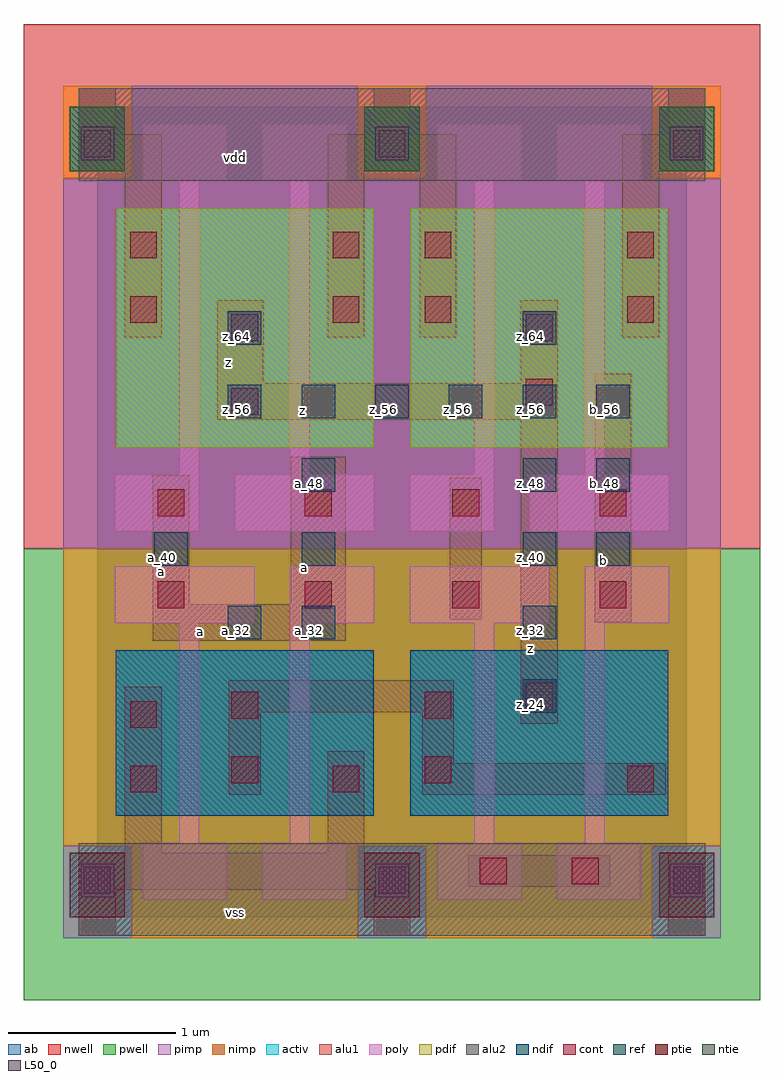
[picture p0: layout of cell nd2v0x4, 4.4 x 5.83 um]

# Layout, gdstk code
import gdstk
lib = gdstk.Library(unit=1e-6, precision=2.5e-09)
def R(c, l, rs):  # rectangles x0, y0, x1, y1
    for r in rs: c.add(gdstk.rectangle(r[:2], r[2:], *l))
def A(c, l, x, y, w, h, nx, ny, dx, dy):  # array of equal rectangles
    R(c, l, [(x+i*dx, y+j*dy, x+i*dx+w, y+j*dy+h) for i in range(nx) for j in range(ny)])
ndif = (3, 0)
pdif = (4, 0)
ntie = (5, 0)
ptie = (6, 0)
ref = (24, 0)
cont = (25, 0)
pwell = (41, 0)
nwell = (42, 0)
activ = (43, 0)
pimp = (44, 0)
nimp = (45, 0)
poly = (46, 0)
alu1 = (49, 0)
L50_0 = (50, 0)
alu2 = (51, 0)
ab = (63, 0)

nd2v0x4 = lib.new_cell('nd2v0x4')
R(nd2v0x4, ndif, [(0.11,0.605,1.65,1.595), (1.87,0.605,3.41,1.595)])
R(nd2v0x4, pdif, [(0.11,2.805,1.65,4.235), (1.87,2.805,3.41,4.235)])
A(nd2v0x4, ntie, -0.165, 4.455, 0.33, 0.385, 3, 1, 1.76, 0)
A(nd2v0x4, ptie, -0.165, 0, 0.33, 0.385, 3, 1, 1.76, 0)
A(nd2v0x4, ref, 2.54, 1.22, 0.2, 0.2, 1, 4, 0, 0.44)
A(nd2v0x4, ref, 1.22, 1.66, 0.2, 0.2, 1, 3, 0, 0.44)
A(nd2v0x4, ref, 0.78, 2.98, 0.2, 0.2, 6, 1, 0.44, 0)
R(nd2v0x4, ref, [(0.78,1.66,0.98,1.86), (0.34,2.1,0.54,2.3), (2.98,2.1,3.18,2.3), (2.98,2.54,3.18,2.74), (0.78,3.42,0.98,3.62), (2.54,3.42,2.74,3.62)])
A(nd2v0x4, cont, -0.08, 0.14, 0.16, 0.16, 3, 2, 1.76, 4.4)
A(nd2v0x4, cont, 0.36, 1.845, 0.16, 0.16, 4, 2, 0.88, 0.55)
R(nd2v0x4, cont, [(2.285,0.195,2.445,0.355), (2.835,0.195,2.995,0.355), (0.195,0.745,0.355,0.905), (1.405,0.745,1.565,0.905), (3.165,0.745,3.325,0.905), (0.8,0.8,0.96,0.96), (1.955,0.8,2.115,0.96), (0.195,1.13,0.355,1.29), (0.8,1.185,0.96,1.345), (1.955,1.185,2.115,1.345), (2.56,1.24,2.72,1.4), (0.8,3,0.96,3.16), (2.56,3.055,2.72,3.215), (0.8,3.44,0.96,3.6), (2.56,3.44,2.72,3.6), (0.195,3.55,0.355,3.71), (1.405,3.55,1.565,3.71), (1.955,3.55,2.115,3.71), (3.165,3.55,3.325,3.71), (0.195,3.935,0.355,4.095), (1.405,3.935,1.565,4.095), (1.955,3.935,2.115,4.095), (3.165,3.935,3.325,4.095)])
R(nd2v0x4, pwell, [(-0.44,-0.495,3.96,2.2)])
R(nd2v0x4, nwell, [(-0.44,2.2,3.96,5.335)])
A(nd2v0x4, activ, -0.165, 0, 0.33, 0.385, 3, 2, 1.76, 4.455)
R(nd2v0x4, activ, [(0.11,0.605,1.65,1.595), (1.87,0.605,3.41,1.595), (0.11,2.805,1.65,4.235), (1.87,2.805,3.41,4.235)])
A(nd2v0x4, pimp, -0.205, -0.125, 0.41, 0.55, 3, 1, 1.76, 0)
R(nd2v0x4, pimp, [(-0.205,2.2,3.725,4.415), (0.205,4.415,1.555,4.965), (1.965,4.415,3.315,4.965)])
A(nd2v0x4, nimp, -0.205, 4.415, 0.41, 0.55, 3, 1, 1.76, 0)
R(nd2v0x4, nimp, [(0.205,-0.125,1.555,0.425), (1.965,-0.125,3.315,0.425), (-0.205,0.425,3.725,2.2)])
R(nd2v0x4, poly, [(0.27,0.105,0.775,0.445), (0.985,0.105,1.49,0.445), (2.03,0.105,2.535,0.445), (2.745,0.105,3.25,0.445), (0.49,0.445,0.61,1.755), (1.15,0.445,1.27,1.755), (2.25,0.445,2.37,1.755), (2.91,0.445,3.03,1.755), (0.105,1.755,0.94,2.095), (1.15,1.755,1.655,2.095), (1.865,1.755,2.7,2.095), (2.91,1.755,3.415,2.095), (0.105,2.305,0.61,2.645), (0.82,2.305,1.655,2.645), (1.865,2.305,2.37,2.645), (2.58,2.305,3.415,2.645), (0.49,2.645,0.61,4.395), (1.15,2.645,1.27,4.395), (2.25,2.645,2.37,4.395), (2.91,2.645,3.03,4.395), (0.27,4.395,0.775,4.735), (0.985,4.395,1.49,4.735), (2.03,4.395,2.535,4.735), (2.745,4.395,3.25,4.735)])
A(nd2v0x4, alu1, -0.11, 4.675, 0.22, 0.275, 3, 1, 1.76, 0)
R(nd2v0x4, alu1, [(-0.11,-0.11,0.11,0.165), (1.65,-0.11,1.87,0.165), (3.41,-0.11,3.63,0.385), (-0.11,0.165,1.87,0.385), (2.215,0.18,3.065,0.37), (0.165,0.385,0.385,1.375), (1.375,0.385,1.595,0.99), (0.785,0.73,0.975,1.225), (1.94,0.73,3.395,0.92), (1.94,0.92,2.13,1.225), (2.53,1.155,2.75,2.97), (0.785,1.225,2.13,1.415), (0.33,1.65,1.485,1.87), (2.97,1.76,3.19,3.245), (2.105,1.775,2.295,2.625), (0.33,1.87,0.55,2.64), (1.155,1.87,1.485,2.75), (0.715,2.97,2.75,3.19), (0.715,3.19,0.99,3.685), (2.53,3.19,2.75,3.685), (0.165,3.465,0.385,4.455), (1.375,3.465,1.595,4.455), (1.925,3.465,2.145,4.455), (3.135,3.465,3.355,4.455), (-0.11,4.455,0.385,4.675), (1.375,4.455,2.145,4.675), (3.135,4.455,3.63,4.675)])
A(nd2v0x4, L50_0, -0.1, 0.12, 0.2, 0.2, 3, 2, 1.76, 4.4)
R(nd2v0x4, alu2, [(-0.11,-0.11,3.63,0.44), (-0.11,4.4,3.63,4.95)])
R(nd2v0x4, ab, [(0,0,3.52,4.84)])
nd2v0x4.add(gdstk.Label('b', (3.025,2.13), layer=49, texttype=0))
nd2v0x4.add(gdstk.Label('z', (2.585,1.6075), layer=49, texttype=0))
nd2v0x4.add(gdstk.Label('a', (0.6175,1.705), layer=49, texttype=0))
nd2v0x4.add(gdstk.Label('a', (1.2375,2.09), layer=49, texttype=0))
nd2v0x4.add(gdstk.Label('a', (0.385,2.0625), layer=49, texttype=0))
nd2v0x4.add(gdstk.Label('z', (1.2225,3.025), layer=49, texttype=0))
nd2v0x4.add(gdstk.Label('z', (0.7825,3.3125), layer=49, texttype=0))
nd2v0x4.add(gdstk.Label('vss', (0.825,0.0275), layer=51, texttype=0))
nd2v0x4.add(gdstk.Label('vdd', (0.825,4.5375), layer=51, texttype=0))
nd2v0x4.add(gdstk.Label('a_40', (0.39,2.15), layer=24, texttype=0))
nd2v0x4.add(gdstk.Label('z_64', (0.83,3.47), layer=24, texttype=0))
nd2v0x4.add(gdstk.Label('z_56', (1.71,3.03), layer=24, texttype=0))
nd2v0x4.add(gdstk.Label('b_40', (3.03,2.15), layer=24, texttype=0))
nd2v0x4.add(gdstk.Label('b_48', (3.03,2.59), layer=24, texttype=0))
nd2v0x4.add(gdstk.Label('b_56', (3.03,3.03), layer=24, texttype=0))
nd2v0x4.add(gdstk.Label('a_40', (1.27,2.15), layer=24, texttype=0))
nd2v0x4.add(gdstk.Label('z_24', (2.59,1.27), layer=24, texttype=0))
nd2v0x4.add(gdstk.Label('z_64', (2.59,3.47), layer=24, texttype=0))
nd2v0x4.add(gdstk.Label('z_56', (1.27,3.03), layer=24, texttype=0))
nd2v0x4.add(gdstk.Label('z_56', (0.83,3.03), layer=24, texttype=0))
nd2v0x4.add(gdstk.Label('z_56', (2.15,3.03), layer=24, texttype=0))
nd2v0x4.add(gdstk.Label('z_32', (2.59,1.71), layer=24, texttype=0))
nd2v0x4.add(gdstk.Label('z_40', (2.59,2.15), layer=24, texttype=0))
nd2v0x4.add(gdstk.Label('z_48', (2.59,2.59), layer=24, texttype=0))
nd2v0x4.add(gdstk.Label('z_56', (2.59,3.03), layer=24, texttype=0))
nd2v0x4.add(gdstk.Label('a_48', (1.27,2.59), layer=24, texttype=0))
nd2v0x4.add(gdstk.Label('a_32', (0.83,1.71), layer=24, texttype=0))
nd2v0x4.add(gdstk.Label('a_32', (1.27,1.71), layer=24, texttype=0))

lib.write_gds('nd2v0x4.gds')
